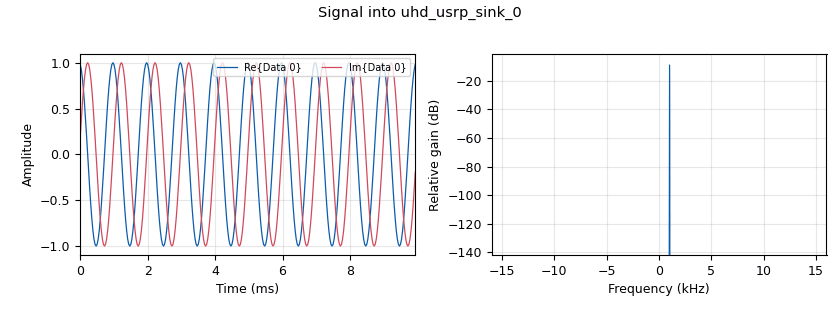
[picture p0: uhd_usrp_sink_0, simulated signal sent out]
options:
  parameters:
    generate_options: qt_gui
    id: sig_sorce
    output_language: python
    title: Not titled yet
  states: {}

blocks:
- name: samp_rate
  id: variable
  parameters:
    value: '32000'
  states: {}
- name: analog_sig_source_x_0
  id: analog_sig_source_x
  parameters:
    amp: '1'
    freq: '1000'
    offset: '0'
    phase: '0'
    samp_rate: samp_rate
    type: complex
    waveform: analog.GR_COS_WAVE
  states: {}
- name: blocks_throttle2_0
  id: blocks_throttle2
  parameters:
    samples_per_second: samp_rate
    type: complex
  states: {}
- name: uhd_usrp_sink_0
  id: uhd_usrp_sink
  parameters:
    ant0: '"TX/RX"'
    center_freq0: '0'
    gain0: '0'
    samp_rate: samp_rate
    sync: sync
    type: fc32
  states: {}

connections:
- [analog_sig_source_x_0, '0', blocks_throttle2_0, '0']
- [blocks_throttle2_0, '0', uhd_usrp_sink_0, '0']

metadata:
  file_format: 1
  grc_version: 3.10.12.0
